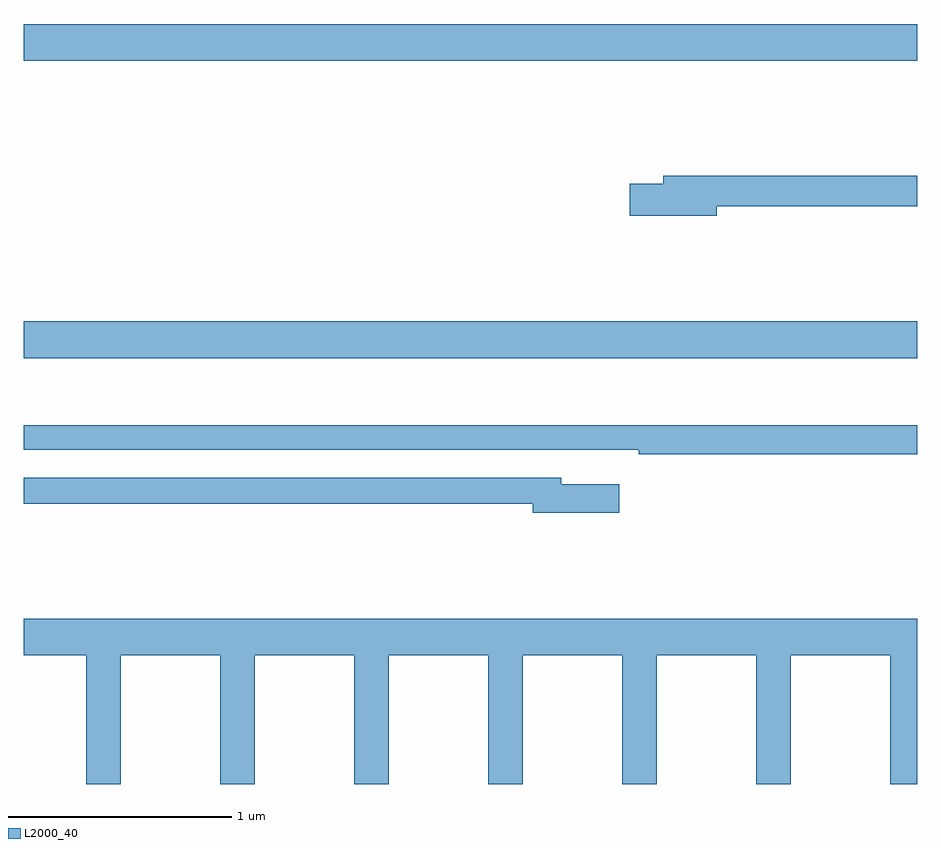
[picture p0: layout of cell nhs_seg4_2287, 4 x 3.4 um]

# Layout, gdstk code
import gdstk
lib = gdstk.Library(unit=1e-6, precision=1e-09)
def R(c, l, rs):  # rectangles x0, y0, x1, y1
    for r in rs: c.add(gdstk.rectangle(r[:2], r[2:], *l))
def P(c, l, *ps):  # polygons
    for p in ps: c.add(gdstk.Polygon(p, *l))
L2000_40 = (2000, 40)

nhs_seg4_2287 = lib.new_cell('nhs_seg4_2287')
R(nhs_seg4_2287, L2000_40, [(229,808.808,233,808.972), (229,810.14,233,810.304)])
P(nhs_seg4_2287, L2000_40, [(232.102,809.488),(233,809.488),(233,809.624),(231.863,809.624),(231.863,809.588),(231.714,809.588),(231.714,809.446),(232.102,809.446)],
  [(233,808.507),(229,808.507),(229,808.398),(231.502,808.398),(231.502,808.397),(231.754,808.397),(231.754,808.378),(233,808.378)],
  [(231.667,808.243),(231.406,808.243),(231.406,808.272),(229,808.272),(229,808.156),(231.278,808.156),(231.278,808.114),(231.667,808.114)],
  [(229.434,807.476),(229.879,807.476),(229.879,806.9),(230.034,806.9),(230.034,807.476),(230.479,807.476),(230.479,806.9),(230.634,806.9),(230.634,807.476),(231.079,807.476),(231.079,806.9),(231.234,806.9),(231.234,807.476),(231.679,807.476),(231.679,806.9),(231.834,806.9),(231.834,807.476),(232.279,807.476),(232.279,806.9),(232.434,806.9),(232.434,807.476),(232.879,807.476),(232.879,806.9),(233,806.9),(233,807.64),(229,807.64),(229,807.476),(229.279,807.476),(229.279,806.9),(229.434,806.9)])

lib.write_gds('nhs_seg4_2287.gds')
